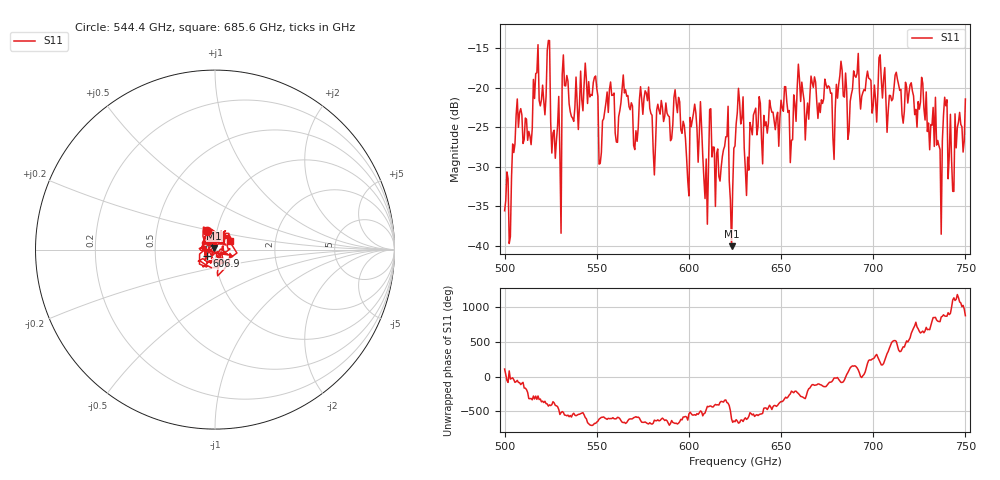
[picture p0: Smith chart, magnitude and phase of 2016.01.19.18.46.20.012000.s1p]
!Created with skrf (http://scikit-rf.org).
# GHz S RI R 50.0
!freq ReS11 ImS11
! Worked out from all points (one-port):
!   401 points, 500 GHz to 750 GHz, reference 50 ohm
!   lowest |S11| = -40.0 dB at 623.1 GHz (marker M1), VSWR 1.02, Z = 49.6 + j0.909 ohm
!   |S11| at or under -10 dB: start of sweep to end of sweep
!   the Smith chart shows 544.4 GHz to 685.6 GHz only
!   S11 on the Smith chart (normalised r, x): 544.4 GHz: 0.89, +0.18; 606.9 GHz: 0.91, -0.06; 685.6 GHz: 1.17, +0.11
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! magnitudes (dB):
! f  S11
! 500 GHz  -35.5
! 507.5 GHz  -25.0
! 513.8 GHz  -26.1
! 516.9 GHz  -18.2
! 526.9 GHz  -25.4
! 531.2 GHz  -18.3
! 532.5 GHz  -19.7
! 536.9 GHz  -23.8
! 544.4 GHz  -19.0
! 552.5 GHz  -28.2
! 562.5 GHz  -22.9
! 593.8 GHz  -23.2
! 598.8 GHz  -28.9
! 606.9 GHz  -25.0
! 609.4 GHz  -29.0
! 620 GHz  -26.2
! 623.1 GHz  -40.0
! 625 GHz  -27.4
! 656.2 GHz  -26.6
! 660 GHz  -19.0
! 685.6 GHz  -20.6
! 687.5 GHz  -21.7
! 690.6 GHz  -18.7
! 718.8 GHz  -21.9
! 735.6 GHz  -27.3
! 738.8 GHz  -21.2
! 742.5 GHz  -29.1
! 750 GHz  -21.4
